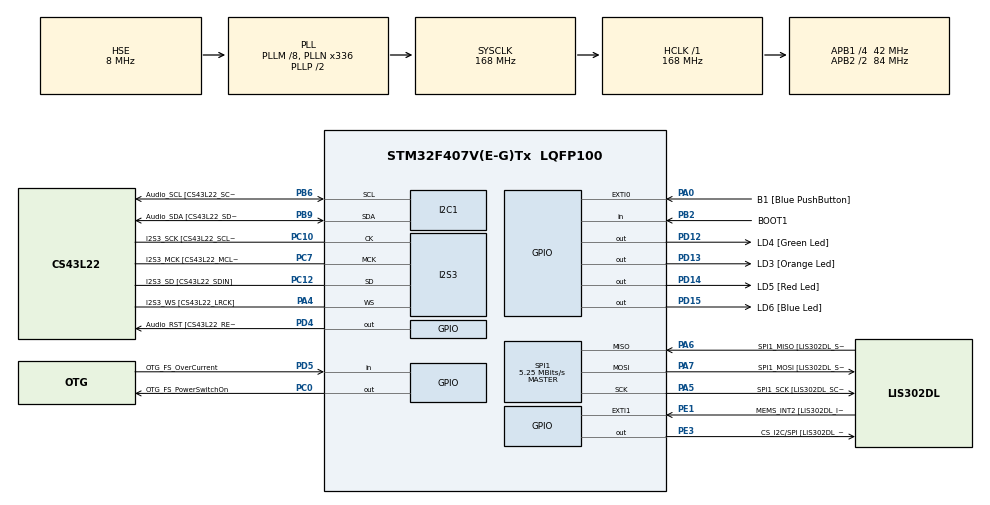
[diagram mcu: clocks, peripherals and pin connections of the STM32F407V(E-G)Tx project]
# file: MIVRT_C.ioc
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FREERTOS.Tasks01=Sensor,40,256,Task_sensor,Default,NULL,Dynamic,NULL,NULL;Proceso,32,256,Task_proceso,Default,NULL,Dynamic,NULL,NULL;Seguridad,24,256,Task_seguridad,Default,NULL,Dynamic,NULL,NULL;comms,16,256,Task_comms,Default,NULL,Dynamic,NULL,NULL
I2S3.AudioFreq-Half_Duplex_Master=I2S_AUDIOFREQ_96K
I2S3.ErrorAudioFreq=-2.34 %
I2S3.ErrorAudioFreq-Half_Duplex_Master=0.8 %
I2S3.FullDuplexMode=I2S_FULLDUPLEXMODE_DISABLE
I2S3.Instance=SPI$Index
I2S3.RealAudioFreq=93.75 KHz
I2S3.RealAudioFreq-Half_Duplex_Master=96.774 KHz
I2S3.VirtualMode=I2S_MODE_MASTER
Mcu.Family=STM32F4
Mcu.Name=STM32F407V(E-G)Tx
Mcu.Package=LQFP100
NVIC.PriorityGroup=NVIC_PRIORITYGROUP_4
NVIC.TIM6_DAC_IRQn=true\:15\:0\:false\:false\:true\:false\:false\:true\:true
NVIC.TimeBase=TIM6_DAC_IRQn
NVIC.TimeBaseIP=TIM6
PA0-WKUP.GPIO_Label=B1 [Blue PushButton]
PA0-WKUP.GPIO_ModeDefaultEXTI=GPIO_MODE_EVT_RISING
PA0-WKUP.GPIO_PuPd=GPIO_NOPULL
PA0-WKUP.Signal=GPXTI0
PA10.GPIO_Label=OTG_FS_ID
PA10.GPIO_Mode=GPIO_MODE_AF_PP
PA10.GPIO_PuPd=GPIO_NOPULL
PA10.GPIO_Speed=GPIO_SPEED_FREQ_LOW
PA10.Signal=USB_OTG_FS_ID
PA11.GPIO_Label=OTG_FS_DM
PA11.GPIO_Mode=GPIO_MODE_AF_PP
PA11.GPIO_PuPd=GPIO_NOPULL
PA11.GPIO_Speed=GPIO_SPEED_FREQ_LOW
PA11.Signal=USB_OTG_FS_DM
PA12.GPIO_Label=OTG_FS_DP
PA12.GPIO_Mode=GPIO_MODE_AF_PP
PA12.GPIO_PuPd=GPIO_NOPULL
PA12.GPIO_Speed=GPIO_SPEED_FREQ_LOW
PA12.Signal=USB_OTG_FS_DP
PA13.GPIO_Label=SWDIO
PA13.Mode=Serial_Wire
PA13.Signal=SYS_JTMS-SWDIO
PA14.GPIO_Label=SWCLK
PA14.Mode=Serial_Wire
PA14.Signal=SYS_JTCK-SWCLK
PA4.GPIO_Label=I2S3_WS [CS43L22_LRCK]
PA4.GPIO_Mode=GPIO_MODE_AF_PP
PA4.GPIO_PuPd=GPIO_NOPULL
PA4.GPIO_Speed=GPIO_SPEED_FREQ_LOW
PA4.Mode=Half_Duplex_Master
PA4.Signal=I2S3_WS
PA5.GPIO_Label=SPI1_SCK [LIS302DL_SCL/SPC]
PA5.GPIO_Mode=GPIO_MODE_AF_PP
PA5.GPIO_PuPd=GPIO_NOPULL
PA5.GPIO_Speed=GPIO_SPEED_FREQ_LOW
PA5.Mode=Full_Duplex_Master
PA5.Signal=SPI1_SCK
PA6.GPIO_Label=SPI1_MISO [LIS302DL_SDO]
PA6.GPIO_Mode=GPIO_MODE_AF_PP
PA6.GPIO_PuPd=GPIO_NOPULL
PA6.GPIO_Speed=GPIO_SPEED_FREQ_LOW
PA6.Mode=Full_Duplex_Master
PA6.Signal=SPI1_MISO
PA7.GPIO_Label=SPI1_MOSI [LIS302DL_SDA/SDI/SDO]
PA7.GPIO_Mode=GPIO_MODE_AF_PP
PA7.GPIO_PuPd=GPIO_NOPULL
PA7.GPIO_Speed=GPIO_SPEED_FREQ_LOW
PA7.Mode=Full_Duplex_Master
PA7.Signal=SPI1_MOSI
PA9.GPIO_Label=VBUS_FS
PA9.GPIO_Mode=GPIO_MODE_INPUT
PA9.GPIO_PuPd=GPIO_NOPULL
PA9.Signal=USB_OTG_FS_VBUS
PB10.GPIO_Label=CLK_IN [MP45DT02_CLK]
PB10.GPIO_Mode=GPIO_MODE_AF_PP
PB10.GPIO_PuPd=GPIO_NOPULL
PB10.GPIO_Speed=GPIO_SPEED_FREQ_LOW
PB10.Signal=I2S2_CK
PB2.GPIO_Label=BOOT1
PB2.GPIO_Mode=GPIO_MODE_INPUT
PB2.GPIO_PuPd=GPIO_NOPULL
PB2.Signal=GPIO_Input
PB3.GPIO_Label=SWO
PB3.Signal=SYS_JTDO-SWO
PB6.GPIO_Label=Audio_SCL [CS43L22_SCL]
PB6.GPIO_Mode=GPIO_MODE_AF_OD
PB6.GPIO_Pu=GPIO_PULLUP
PB6.GPIO_PuPd=GPIO_NOPULL
PB6.GPIO_Speed=GPIO_SPEED_FREQ_LOW
PB6.Mode=I2C
PB6.Signal=I2C1_SCL
PB9.GPIO_Label=Audio_SDA [CS43L22_SDA]
PB9.GPIO_Mode=GPIO_MODE_AF_OD
PB9.GPIO_Pu=GPIO_PULLUP
PB9.GPIO_PuPd=GPIO_NOPULL
PB9.GPIO_Speed=GPIO_SPEED_FREQ_LOW
PB9.Mode=I2C
PB9.Signal=I2C1_SDA
PC0.GPIO_Label=OTG_FS_PowerSwitchOn
PC0.GPIO_PuPd=GPIO_NOPULL
PC0.GPIO_Speed=GPIO_SPEED_FREQ_LOW
PC0.PinState=GPIO_PIN_SET
PC0.Signal=GPIO_Output
PC10.GPIO_Label=I2S3_SCK [CS43L22_SCLK]
PC10.GPIO_Mode=GPIO_MODE_AF_PP
PC10.GPIO_PuPd=GPIO_NOPULL
PC10.GPIO_Speed=GPIO_SPEED_FREQ_LOW
PC10.Mode=Half_Duplex_Master
PC10.Signal=I2S3_CK
PC12.GPIO_Label=I2S3_SD [CS43L22_SDIN]
PC12.GPIO_Mode=GPIO_MODE_AF_PP
PC12.GPIO_PuPd=GPIO_NOPULL
PC12.GPIO_Speed=GPIO_SPEED_FREQ_LOW
PC12.Mode=Half_Duplex_Master
PC12.Signal=I2S3_SD
PC14-OSC32_IN.GPIO_Label=PC14-OSC32_IN
PC14-OSC32_IN.Mode=LSE-External-Oscillator
PC14-OSC32_IN.Signal=RCC_OSC32_IN
PC15-OSC32_OUT.GPIO_Label=PC15-OSC32_OUT
PC15-OSC32_OUT.Mode=LSE-External-Oscillator
PC15-OSC32_OUT.Signal=RCC_OSC32_OUT
PC3.GPIO_Label=PDM_OUT [MP45DT02_DOUT]
PC3.GPIO_Mode=GPIO_MODE_AF_PP
PC3.GPIO_PuPd=GPIO_NOPULL
PC3.GPIO_Speed=GPIO_SPEED_FREQ_LOW
PC3.Signal=I2S2_SD
PC7.GPIO_Label=I2S3_MCK [CS43L22_MCLK]
PC7.GPIO_Mode=GPIO_MODE_AF_PP
PC7.GPIO_PuPd=GPIO_NOPULL
PC7.GPIO_Speed=GPIO_SPEED_FREQ_LOW
PC7.Mode=Master_Clock_Activated
PC7.Signal=I2S3_MCK
PD12.GPIO_Label=LD4 [Green Led]
PD12.GPIO_PuPd=GPIO_NOPULL
PD12.GPIO_Speed=GPIO_SPEED_FREQ_LOW
PD12.Signal=GPIO_Output
PD13.GPIO_Label=LD3 [Orange Led]
PD13.GPIO_PuPd=GPIO_NOPULL
PD13.GPIO_Speed=GPIO_SPEED_FREQ_LOW
PD13.Signal=GPIO_Output
PD14.GPIO_Label=LD5 [Red Led]
PD14.GPIO_PuPd=GPIO_NOPULL
PD14.GPIO_Speed=GPIO_SPEED_FREQ_LOW
PD14.Signal=GPIO_Output
PD15.GPIO_Label=LD6 [Blue Led]
PD15.GPIO_PuPd=GPIO_NOPULL
PD15.GPIO_Speed=GPIO_SPEED_FREQ_LOW
PD15.Signal=GPIO_Output
PD4.GPIO_Label=Audio_RST [CS43L22_RESET]
PD4.GPIO_PuPd=GPIO_NOPULL
PD4.GPIO_Speed=GPIO_SPEED_FREQ_LOW
PD4.Signal=GPIO_Output
PD5.GPIO_Label=OTG_FS_OverCurrent
PD5.GPIO_Mode=GPIO_MODE_INPUT
PD5.GPIO_PuPd=GPIO_NOPULL
PD5.Signal=GPIO_Input
PE1.GPIO_Label=MEMS_INT2 [LIS302DL_INT2]
PE1.GPIO_ModeDefaultEXTI=GPIO_MODE_EVT_RISING
PE1.GPIO_PuPd=GPIO_NOPULL
PE1.Signal=GPXTI1
PE3.GPIO_Label=CS_I2C/SPI [LIS302DL_CS_I2C/SPI]
PE3.GPIO_PuPd=GPIO_NOPULL
PE3.GPIO_Speed=GPIO_SPEED_FREQ_LOW
PE3.PinState=GPIO_PIN_SET
PE3.Signal=GPIO_Output
PH0-OSC_IN.GPIO_Label=PH0-OSC_IN
PH0-OSC_IN.Mode=HSE-External-Oscillator
PH0-OSC_IN.Signal=RCC_OSC_IN
PH1-OSC_OUT.GPIO_Label=PH1-OSC_OUT
PH1-OSC_OUT.Mode=HSE-External-Oscillator
PH1-OSC_OUT.Signal=RCC_OSC_OUT
ProjectManager.HeapSize=0x200
ProjectManager.StackSize=0x400
ProjectManager.TargetToolchain=STM32CubeIDE
RCC.48MHZClocksFreq_Value=48000000
RCC.AHBFreq_Value=168000000
RCC.APB1CLKDivider=RCC_HCLK_DIV4
RCC.APB1Freq_Value=42000000
RCC.APB1TimFreq_Value=84000000
RCC.APB2CLKDivider=RCC_HCLK_DIV2
RCC.APB2Freq_Value=84000000
RCC.APB2TimFreq_Value=168000000
RCC.CortexFreq_Value=168000000
RCC.HCLKFreq_Value=168000000
RCC.HSE_VALUE=8000000
RCC.HSI_VALUE=16000000
RCC.PLLM=8
RCC.PLLN=336
RCC.PLLQ=7
RCC.PLLSourceVirtual=RCC_PLLSOURCE_HSE
RCC.SYSCLKFreq_VALUE=168000000
RCC.SYSCLKSource=RCC_SYSCLKSOURCE_PLLCLK
RCC.VCOOutputFreq_Value=336000000
SPI1.BaudRatePrescaler=SPI_BAUDRATEPRESCALER_16
SPI1.BaudRatePrescaler-Full_Duplex_Master=SPI_BAUDRATEPRESCALER_2
SPI1.CLKPhase=SPI_PHASE_2EDGE
SPI1.CLKPolarity=SPI_POLARITY_HIGH
SPI1.CalculateBaudRate=5.25 MBits/s
SPI1.CalculateBaudRate-Full_Duplex_Master=42.0 MBits/s
SPI1.Direction=SPI_DIRECTION_2LINES
SPI1.Mode=SPI_MODE_MASTER
SPI1.Mode-Full_Duplex_Master=SPI_MODE_MASTER
SPI1.VirtualType=VM_MASTER
VP_FREERTOS_VS_CMSIS_V2.Mode=CMSIS_V2
VP_SYS_VS_tim6.Mode=TIM6
board=STM32F407G-DISC1

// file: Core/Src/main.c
/* USER CODE BEGIN Header */
/**
  ******************************************************************************
  * @file           : main.c
  * @brief          : Main program body
  ******************************************************************************
  * @attention
  *
  * Copyright (c) 2026 STMicroelectronics.
  * All rights reserved.
  *
  * This software is licensed under terms that can be found in the LICENSE file
  * in the root directory of this software component.
  * If no LICENSE file comes with this software, it is provided AS-IS.
  *
  ******************************************************************************
  */
/* USER CODE END Header */
#include "main.h"
#include "cmsis_os.h"

/* USER CODE BEGIN PD */
#define LIS_READ 0x80 // bit de lectura en el primer byte
#define WHOAMI_REG 0x0F
#define WHOAMI_VAL 0x3F // firma del LIS3DSH
#define LIS_READ    0x80
#define WHOAMI_REG  0x0F
#define CTRL_REG4   0x20
#define CTRL_REG5   0x24
#define CTRL_REG6   0x25
#define OUT_X_L     0x28

// ---- SELECTOR DE MEDIDA (ver LEEME_SARAH_C.txt) ----
// 1: Reto 1.7.3 - C medidos, sin cargas artificiales (version normal)
// 2: Reto 1.8.1 - Sensor con osDelay(10) + carga de 2 ms
// 3: Reto 1.8.2 - Sensor con osDelayUntil + carga de 2 ms
// 4: Reto 1.9 caso (a) - prioridades RM, Proceso con C = 12 ms
// 5: Reto 1.9 caso (b) - Proceso por encima de Sensor, C = 12 ms
#define MEDIDA 5
/* USER CODE END PD */

I2C_HandleTypeDef hi2c1;

I2S_HandleTypeDef hi2s3;

SPI_HandleTypeDef hspi1;

/* Definitions for Sensor */
osThreadId_t SensorHandle;
const osThreadAttr_t Sensor_attributes = {
  .name = "Sensor",
  .stack_size = 256 * 4,
  .priority = (osPriority_t) osPriorityHigh,
};
/* Definitions for Proceso */
osThreadId_t ProcesoHandle;
const osThreadAttr_t Proceso_attributes = {
  .name = "Proceso",
  .stack_size = 256 * 4,
  .priority = (osPriority_t) osPriorityAboveNormal,
};
/* Definitions for Seguridad */
osThreadId_t SeguridadHandle;
const osThreadAttr_t Seguridad_attributes = {
  .name = "Seguridad",
  .stack_size = 256 * 4,
  .priority = (osPriority_t) osPriorityNormal,
};
/* Definitions for comms */
osThreadId_t commsHandle;
const osThreadAttr_t comms_attributes = {
  .name = "comms",
  .stack_size = 256 * 4,
  .priority = (osPriority_t) osPriorityBelowNormal,
};
/* USER CODE BEGIN PV */
volatile uint8_t who = 0;
volatile uint8_t r4 = 0;
volatile uint8_t r5 = 0;
volatile uint8_t r6 = 0;
volatile uint8_t init_err = 1;
volatile uint8_t raw[6];
volatile int16_t ax, ay, az;
volatile float ax_mg, ay_mg, az_mg;
volatile uint32_t c_sensor_max_us=0;
volatile uint32_t c_proceso_max_us=0;
volatile uint32_t c_seguridad_max_us=0;
volatile uint32_t c_comms_max_us=0;

volatile uint32_t sensor_periodo_us = 0;
volatile uint32_t sensor_per_max_us = 0;
volatile uint32_t sensor_per_min_us = 999999;
volatile uint32_t sensor_jitter_us = 0;

//Para apartado 1.9
volatile uint32_t sensor_R_ms = 0;        // tiempo de respuesta de Sensor
volatile uint32_t sensor_R_max_ms = 0;    // el peor tiempo de respuesta medido
volatile uint32_t sensor_perdidos = 0;    // plazos perdidos (R > 10 ms)
/* USER CODE END PV */

void SystemClock_Config(void);
static void MX_GPIO_Init(void);
static void MX_I2C1_Init(void);
static void MX_I2S3_Init(void);
static void MX_SPI1_Init(void);
void Task_sensor(void *argument);
void Task_proceso(void *argument);
void Task_seguridad(void *argument);
void Task_comms(void *argument);

/* USER CODE BEGIN 0 */
static void cs_low(void)  { HAL_GPIO_WritePin(GPIOE, GPIO_PIN_3, GPIO_PIN_RESET); }
static void cs_high(void) { HAL_GPIO_WritePin(GPIOE, GPIO_PIN_3, GPIO_PIN_SET); }

// Lee 'n' (<= 6) registros consecutivos a partir de 'reg'.
void lis_read(uint8_t reg, uint8_t *buf, uint16_t n)
{
    uint8_t tx[7] = {0}, rx[7];
    tx[0] = LIS_READ | reg;                     // dirección + bit de lectura

    cs_low();
    HAL_SPI_TransmitReceive(&hspi1, tx, rx, n + 1, HAL_MAX_DELAY);  // una transacción de n+1 bytes
    cs_high();

    for (uint16_t i = 0; i < n; i++)
        buf[i] = rx[i + 1];                     // rx[0] se descarta (el sensor aún no contestaba)
}

void lis_write(uint8_t reg, uint8_t val)
{
    uint8_t tx[2];
    tx[0] = reg & 0x7F;                         // dirección con bit 7 = 0 (escritura)
    tx[1] = val;                                // valor a escribir

    cs_low();
    HAL_SPI_Transmit(&hspi1, tx, 2, HAL_MAX_DELAY);  // solo envío
    cs_high();
}

//PARTE B//

// Devuelve 0 si el sensor responde y queda configurado; 1 si no.
uint8_t lis_init(void)
{
    uint8_t id;
    lis_read(WHOAMI_REG, &id, 1);               // prueba de vida
    if (id != WHOAMI_VAL) return 1;             // si no es 0x3F → error

    lis_write(CTRL_REG4, 0x6F);                 // ODR 100 Hz, BDU = 1, X/Y/Z
    lis_write(CTRL_REG5, 0xC0);                 // ← faltaba: BW 50 Hz, ±2 g, sin self-test, 4 hilos
    lis_write(CTRL_REG6, 0x10);                 // ADD_INC = 1
    return 0;
}

static void leer_sensor(void)     // cada 10 ms
{
    lis_read(OUT_X_L, (uint8_t*)raw, 6);
    ax = (int16_t)((raw[1] << 8) | raw[0]);
    ay = (int16_t)((raw[3] << 8) | raw[2]);
    az = (int16_t)((raw[5] << 8) | raw[4]);
}

static void convertir_mg(void)    // cada 20 ms
{
    ax_mg = ax * 0.06f;   //f para que l multiplicación se haga con 32 bits (en vez de double)
    ay_mg = ay * 0.06f;
    az_mg = az * 0.06f;
}

static void latido(void)          // cada 50 ms
{
    HAL_GPIO_TogglePin(GPIOD, GPIO_PIN_12);   // LED verde
}

static void actividad_larga(void)     // tarea de 15 ms, CPU para sin hacer nada
{
    uint32_t t0 = HAL_GetTick();
    while (HAL_GetTick() - t0 < 15) { }
}

void quemar_cpu_us(uint32_t us)
{
    uint32_t acc = 0, prev = DWT->CYCCNT;
    while (acc < us * 168u) {
        uint32_t now = DWT->CYCCNT, d = now - prev; prev = now;
        if (d < 1680u) acc += d;
    }
}

/* USER CODE END 0 */

int main(void)
{

  /* MCU Configuration--------------------------------------------------------*/

  /* Reset of all peripherals, Initializes the Flash interface and the Systick. */
  HAL_Init();

  /* Configure the system clock */
  SystemClock_Config();

  /* Initialize all configured peripherals */
  MX_GPIO_Init();
  MX_I2C1_Init();
  MX_I2S3_Init();
  MX_SPI1_Init();
  /* USER CODE BEGIN 2 */

   // Lee 'n' (<= 6) registros consecutivos a partir de 'reg'.
  __HAL_SPI_ENABLE(&hspi1);                     // enciende el SPI1 ya: SCK queda en reposo alto antes de bajar CS
  HAL_Delay(10);                                // da tiempo al sensor a arrancar
  cs_high();                                    // CS en reposo
  init_err = lis_init();                        // 0 = OK
  lis_read(WHOAMI_REG, (uint8_t*)&who, 1);      // debe dar 0x3F
  lis_read(CTRL_REG4,  (uint8_t*)&r4, 1);       // debe dar 0x6F
  lis_read(CTRL_REG5,  (uint8_t*)&r5, 1);       // debe dar 0xC0
  lis_read(CTRL_REG6,  (uint8_t*)&r6, 1);       // debe dar 0x10

  ////////PARTE B///////

  CoreDebug->DEMCR |= CoreDebug_DEMCR_TRCENA_Msk;
  DWT->CYCCNT = 0;
  DWT->CTRL |= DWT_CTRL_CYCCNTENA_Msk;
  /* USER CODE END 2 */

  /* Init scheduler */
  osKernelInitialize();

  /* Create the thread(s) */
  /* creation of Sensor */
  SensorHandle = osThreadNew(Task_sensor, NULL, &Sensor_attributes);

  /* creation of Proceso */
  ProcesoHandle = osThreadNew(Task_proceso, NULL, &Proceso_attributes);

  /* creation of Seguridad */
  SeguridadHandle = osThreadNew(Task_seguridad, NULL, &Seguridad_attributes);

  /* creation of comms */
  commsHandle = osThreadNew(Task_comms, NULL, &comms_attributes);

  /* USER CODE BEGIN RTOS_THREADS */
#if MEDIDA == 5
  osThreadSetPriority(ProcesoHandle, osPriorityRealtime);   // Reto 1.9 caso (b): Proceso por encima de Sensor
#endif
  /* USER CODE END RTOS_THREADS */

  /* Start scheduler */
  osKernelStart();

  /* We should never get here as control is now taken by the scheduler */

  /* Infinite loop */
  while (1)
  {

  }
}
void SystemClock_Config(void)
{
  RCC_OscInitTypeDef RCC_OscInitStruct = {0};
  RCC_ClkInitTypeDef RCC_ClkInitStruct = {0};

  /** Configure the main internal regulator output voltage
  */
  __HAL_RCC_PWR_CLK_ENABLE();
  __HAL_PWR_VOLTAGESCALING_CONFIG(PWR_REGULATOR_VOLTAGE_SCALE1);

  /** Initializes the RCC Oscillators according to the specified parameters
  * in the RCC_OscInitTypeDef structure.
  */
  RCC_OscInitStruct.OscillatorType = RCC_OSCILLATORTYPE_HSE;
  RCC_OscInitStruct.HSEState = RCC_HSE_ON;
  RCC_OscInitStruct.PLL.PLLState = RCC_PLL_ON;
  RCC_OscInitStruct.PLL.PLLSource = RCC_PLLSOURCE_HSE;
  RCC_OscInitStruct.PLL.PLLM = 8;
  RCC_OscInitStruct.PLL.PLLN = 336;
  RCC_OscInitStruct.PLL.PLLP = RCC_PLLP_DIV2;
  RCC_OscInitStruct.PLL.PLLQ = 7;
  if (HAL_RCC_OscConfig(&RCC_OscInitStruct) != HAL_OK)
  {
    Error_Handler();
  }

  /** Initializes the CPU, AHB and APB buses clocks
  */
  RCC_ClkInitStruct.ClockType = RCC_CLOCKTYPE_HCLK|RCC_CLOCKTYPE_SYSCLK
                              |RCC_CLOCKTYPE_PCLK1|RCC_CLOCKTYPE_PCLK2;
  RCC_ClkInitStruct.SYSCLKSource = RCC_SYSCLKSOURCE_PLLCLK;
  RCC_ClkInitStruct.AHBCLKDivider = RCC_SYSCLK_DIV1;
  RCC_ClkInitStruct.APB1CLKDivider = RCC_HCLK_DIV4;
  RCC_ClkInitStruct.APB2CLKDivider = RCC_HCLK_DIV2;

  if (HAL_RCC_ClockConfig(&RCC_ClkInitStruct, FLASH_LATENCY_5) != HAL_OK)
  {
    Error_Handler();
  }
}

static void MX_I2C1_Init(void)
{

  hi2c1.Instance = I2C1;
  hi2c1.Init.ClockSpeed = 100000;
  hi2c1.Init.DutyCycle = I2C_DUTYCYCLE_2;
  hi2c1.Init.OwnAddress1 = 0;
  hi2c1.Init.AddressingMode = I2C_ADDRESSINGMODE_7BIT;
  hi2c1.Init.DualAddressMode = I2C_DUALADDRESS_DISABLE;
  hi2c1.Init.OwnAddress2 = 0;
  hi2c1.Init.GeneralCallMode = I2C_GENERALCALL_DISABLE;
  hi2c1.Init.NoStretchMode = I2C_NOSTRETCH_DISABLE;
  if (HAL_I2C_Init(&hi2c1) != HAL_OK)
  {
    Error_Handler();
  }

}

static void MX_I2S3_Init(void)
{

  hi2s3.Instance = SPI3;
  hi2s3.Init.Mode = I2S_MODE_MASTER_TX;
  hi2s3.Init.Standard = I2S_STANDARD_PHILIPS;
  hi2s3.Init.DataFormat = I2S_DATAFORMAT_16B;
  hi2s3.Init.MCLKOutput = I2S_MCLKOUTPUT_ENABLE;
  hi2s3.Init.AudioFreq = I2S_AUDIOFREQ_96K;
  hi2s3.Init.CPOL = I2S_CPOL_LOW;
  hi2s3.Init.ClockSource = I2S_CLOCK_PLL;
  hi2s3.Init.FullDuplexMode = I2S_FULLDUPLEXMODE_DISABLE;
  if (HAL_I2S_Init(&hi2s3) != HAL_OK)
  {
    Error_Handler();
  }

}

static void MX_SPI1_Init(void)
{

  /* SPI1 parameter configuration*/
  hspi1.Instance = SPI1;
  hspi1.Init.Mode = SPI_MODE_MASTER;
  hspi1.Init.Direction = SPI_DIRECTION_2LINES;
  hspi1.Init.DataSize = SPI_DATASIZE_8BIT;
  hspi1.Init.CLKPolarity = SPI_POLARITY_HIGH;
  hspi1.Init.CLKPhase = SPI_PHASE_2EDGE;
  hspi1.Init.NSS = SPI_NSS_SOFT;
  hspi1.Init.BaudRatePrescaler = SPI_BAUDRATEPRESCALER_16;
  hspi1.Init.FirstBit = SPI_FIRSTBIT_MSB;
  hspi1.Init.TIMode = SPI_TIMODE_DISABLE;
  hspi1.Init.CRCCalculation = SPI_CRCCALCULATION_DISABLE;
  hspi1.Init.CRCPolynomial = 10;
  if (HAL_SPI_Init(&hspi1) != HAL_OK)
  {
    Error_Handler();
  }

}

static void MX_GPIO_Init(void)
{
  GPIO_InitTypeDef GPIO_InitStruct = {0};

  /* GPIO Ports Clock Enable */
  __HAL_RCC_GPIOE_CLK_ENABLE();
  __HAL_RCC_GPIOC_CLK_ENABLE();
  __HAL_RCC_GPIOH_CLK_ENABLE();
  __HAL_RCC_GPIOA_CLK_ENABLE();
  __HAL_RCC_GPIOB_CLK_ENABLE();
  __HAL_RCC_GPIOD_CLK_ENABLE();

  /*Configure GPIO pin Output Level */
  HAL_GPIO_WritePin(CS_I2C_SPI_GPIO_Port, CS_I2C_SPI_Pin, GPIO_PIN_SET);

  /*Configure GPIO pin Output Level */
  HAL_GPIO_WritePin(OTG_FS_PowerSwitchOn_GPIO_Port, OTG_FS_PowerSwitchOn_Pin, GPIO_PIN_SET);

  /*Configure GPIO pin Output Level */
  HAL_GPIO_WritePin(GPIOD, LD4_Pin|LD3_Pin|LD5_Pin|LD6_Pin
                          |Audio_RST_Pin, GPIO_PIN_RESET);

  /*Configure GPIO pin : CS_I2C_SPI_Pin */
  GPIO_InitStruct.Pin = CS_I2C_SPI_Pin;
  GPIO_InitStruct.Mode = GPIO_MODE_OUTPUT_PP;
  GPIO_InitStruct.Pull = GPIO_NOPULL;
  GPIO_InitStruct.Speed = GPIO_SPEED_FREQ_LOW;
  HAL_GPIO_Init(CS_I2C_SPI_GPIO_Port, &GPIO_InitStruct);

  /*Configure GPIO pin : OTG_FS_PowerSwitchOn_Pin */
  GPIO_InitStruct.Pin = OTG_FS_PowerSwitchOn_Pin;
  GPIO_InitStruct.Mode = GPIO_MODE_OUTPUT_PP;
  GPIO_InitStruct.Pull = GPIO_NOPULL;
  GPIO_InitStruct.Speed = GPIO_SPEED_FREQ_LOW;
  HAL_GPIO_Init(OTG_FS_PowerSwitchOn_GPIO_Port, &GPIO_InitStruct);

  /*Configure GPIO pin : PDM_OUT_Pin */
  GPIO_InitStruct.Pin = PDM_OUT_Pin;
  GPIO_InitStruct.Mode = GPIO_MODE_AF_PP;
  GPIO_InitStruct.Pull = GPIO_NOPULL;
  GPIO_InitStruct.Speed = GPIO_SPEED_FREQ_LOW;
  GPIO_InitStruct.Alternate = GPIO_AF5_SPI2;
  HAL_GPIO_Init(PDM_OUT_GPIO_Port, &GPIO_InitStruct);

  /*Configure GPIO pin : B1_Pin */
  GPIO_InitStruct.Pin = B1_Pin;
  GPIO_InitStruct.Mode = GPIO_MODE_EVT_RISING;
  GPIO_InitStruct.Pull = GPIO_NOPULL;
  HAL_GPIO_Init(B1_GPIO_Port, &GPIO_InitStruct);

  /*Configure GPIO pin : BOOT1_Pin */
  GPIO_InitStruct.Pin = BOOT1_Pin;
  GPIO_InitStruct.Mode = GPIO_MODE_INPUT;
  GPIO_InitStruct.Pull = GPIO_NOPULL;
  HAL_GPIO_Init(BOOT1_GPIO_Port, &GPIO_InitStruct);

  /*Configure GPIO pin : CLK_IN_Pin */
  GPIO_InitStruct.Pin = CLK_IN_Pin;
  GPIO_InitStruct.Mode = GPIO_MODE_AF_PP;
  GPIO_InitStruct.Pull = GPIO_NOPULL;
  GPIO_InitStruct.Speed = GPIO_SPEED_FREQ_LOW;
  GPIO_InitStruct.Alternate = GPIO_AF5_SPI2;
  HAL_GPIO_Init(CLK_IN_GPIO_Port, &GPIO_InitStruct);

  /*Configure GPIO pins : LD4_Pin LD3_Pin LD5_Pin LD6_Pin
                           Audio_RST_Pin */
  GPIO_InitStruct.Pin = LD4_Pin|LD3_Pin|LD5_Pin|LD6_Pin
                          |Audio_RST_Pin;
  GPIO_InitStruct.Mode = GPIO_MODE_OUTPUT_PP;
  GPIO_InitStruct.Pull = GPIO_NOPULL;
  GPIO_InitStruct.Speed = GPIO_SPEED_FREQ_LOW;
  HAL_GPIO_Init(GPIOD, &GPIO_InitStruct);

  /*Configure GPIO pin : VBUS_FS_Pin */
  GPIO_InitStruct.Pin = VBUS_FS_Pin;
  GPIO_InitStruct.Mode = GPIO_MODE_INPUT;
  GPIO_InitStruct.Pull = GPIO_NOPULL;
  HAL_GPIO_Init(VBUS_FS_GPIO_Port, &GPIO_InitStruct);

  /*Configure GPIO pins : OTG_FS_ID_Pin OTG_FS_DM_Pin OTG_FS_DP_Pin */
  GPIO_InitStruct.Pin = OTG_FS_ID_Pin|OTG_FS_DM_Pin|OTG_FS_DP_Pin;
  GPIO_InitStruct.Mode = GPIO_MODE_AF_PP;
  GPIO_InitStruct.Pull = GPIO_NOPULL;
  GPIO_InitStruct.Speed = GPIO_SPEED_FREQ_LOW;
  GPIO_InitStruct.Alternate = GPIO_AF10_OTG_FS;
  HAL_GPIO_Init(GPIOA, &GPIO_InitStruct);

  /*Configure GPIO pin : OTG_FS_OverCurrent_Pin */
  GPIO_InitStruct.Pin = OTG_FS_OverCurrent_Pin;
  GPIO_InitStruct.Mode = GPIO_MODE_INPUT;
  GPIO_InitStruct.Pull = GPIO_NOPULL;
  HAL_GPIO_Init(OTG_FS_OverCurrent_GPIO_Port, &GPIO_InitStruct);

  /*Configure GPIO pin : MEMS_INT2_Pin */
  GPIO_InitStruct.Pin = MEMS_INT2_Pin;
  GPIO_InitStruct.Mode = GPIO_MODE_EVT_RISING;
  GPIO_InitStruct.Pull = GPIO_NOPULL;
  HAL_GPIO_Init(MEMS_INT2_GPIO_Port, &GPIO_InitStruct);

}

void Task_sensor(void *argument)
{
  /* USER CODE BEGIN 5 */
  /* Infinite loop */

	  uint32_t t_ant = 0;
	  uint32_t n = 0;
	  uint32_t t_sig = osKernelGetTickCount();

	  for(;;)
	  {
#if MEDIDA == 2
	    t_sig = osKernelGetTickCount();   // con osDelay no hay instante teorico: se mide R desde el despertar
#endif
	    uint32_t t_act = t_sig;

	    uint32_t ahora = DWT->CYCCNT;
	    if (n >= 2) {
	        sensor_periodo_us = (ahora - t_ant) / 168;
	        if (sensor_periodo_us > sensor_per_max_us) sensor_per_max_us = sensor_periodo_us;
	        if (sensor_periodo_us < sensor_per_min_us) sensor_per_min_us = sensor_periodo_us;
	        sensor_jitter_us = sensor_per_max_us - sensor_per_min_us;
	    }
	    t_ant = ahora;
	    n++;

	    uint32_t t0 = DWT->CYCCNT;
	    leer_sensor();
#if (MEDIDA == 2) || (MEDIDA == 3)
	    quemar_cpu_us(2000);                                  // Reto 1.8: carga artificial de 2 ms
#endif
	    uint32_t c = (DWT->CYCCNT - t0) / 168;
	    if (c > c_sensor_max_us) c_sensor_max_us = c;

	    //Mido tiempo de respuesta maximo
	    sensor_R_ms = osKernelGetTickCount() - t_act;
	    if (sensor_R_ms > sensor_R_max_ms) sensor_R_max_ms = sensor_R_ms;
	    if (sensor_R_ms > 10) sensor_perdidos++;

#if MEDIDA == 2
	    osDelay(10);                      // version ingenua (Listado 1.3)
#else
	    t_sig+=10;
	    osDelayUntil(t_sig);              // periodo exacto
#endif
	  }
	  /* USER CODE END 5 */

}

void Task_proceso(void *argument)
{
  /* USER CODE BEGIN Task_proceso */
  /* Infinite loop */

  uint32_t t_sig = osKernelGetTickCount();
  for(;;)
  {
	  uint32_t t0=DWT->CYCCNT;
	  convertir_mg();
#if (MEDIDA == 4) || (MEDIDA == 5)
	  quemar_cpu_us(12000); // Reto 1.9: C de Proceso = 12 ms
#endif
	  uint32_t c=(DWT->CYCCNT-t0)/168;

	  if (c>c_proceso_max_us) c_proceso_max_us=c;
      //osDelay(20);
      t_sig += 20;
      osDelayUntil(t_sig);
  }
  /* USER CODE END Task_proceso */
}

void Task_seguridad(void *argument)
{
  /* USER CODE BEGIN Task_seguridad */
  /* Infinite loop */
  uint32_t t_sig = osKernelGetTickCount();
  for(;;)
  {
	  uint32_t t0=DWT->CYCCNT;
	  latido();
	  uint32_t c=(DWT->CYCCNT-t0)/168;

	  if (c>c_seguridad_max_us) c_seguridad_max_us=c;
	  //osDelay(50);
	  t_sig += 50;
	  osDelayUntil(t_sig);

  }
  /* USER CODE END Task_seguridad */
}

void Task_comms(void *argument)
{
  /* USER CODE BEGIN Task_comms */
  /* Infinite loop */
  uint32_t t_sig = osKernelGetTickCount();
  for(;;)
  {

	  uint32_t t0=DWT->CYCCNT;

	  uint32_t c=(DWT->CYCCNT-t0)/168;

	  if (c>c_comms_max_us) c_comms_max_us=c;
	   //osDelay(100);
	   t_sig += 100;
	   osDelayUntil(t_sig);
  }
  /* USER CODE END Task_comms */
}

void HAL_TIM_PeriodElapsedCallback(TIM_HandleTypeDef *htim)
{
  if (htim->Instance == TIM6)
  {
    HAL_IncTick();
  }
}

void Error_Handler(void)
{
  __disable_irq();
  while (1)
  {
  }
}
